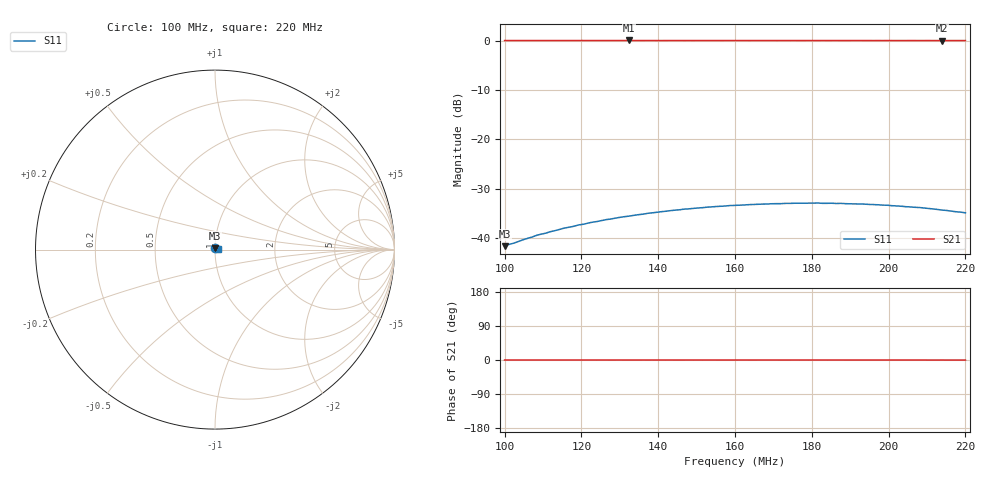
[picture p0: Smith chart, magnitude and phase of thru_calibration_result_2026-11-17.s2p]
# HZ S RI R 50
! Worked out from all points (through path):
!   101 points, 100 MHz to 220 MHz, reference 50 ohm
!   highest |S21| = 0.02 dB at 132.4 MHz (marker M1); lowest = 0.0 dB at 214 MHz (marker M2)
!   lowest |S11| = -41.6 dB at 100 MHz (marker M3), VSWR 1.02, Z = 49.8 + j0.798 ohm
!   |S11| at or under -10 dB: start of sweep to end of sweep
!   S12 and S22 are empty: the file has one direction only
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1e8  -0.00211 0.00801  1.001 -0.000308  0 0  0 0
1.012e8  -0.002 0.00841  1.001 -0.0002  0 0  0 0
1.024e8  -0.00192 0.00868  1.001 -0.000131  0 0  0 0
1.084e8  -0.00151 0.0106  1.001 -0.000212  0 0  0 0
1.156e8  -0.000523 0.0126  1.001 -0.000195  0 0  0 0
1.18e8  -0.000154 0.0132  1.001 -0.00042  0 0  0 0
1.192e8  7.14e-05 0.0136  1.001 -0.000183  0 0  0 0
1.204e8  0.000363 0.0138  1.001 -0.000542  0 0  0 0
1.264e8  0.00166 0.0153  1.001 -0.0004  0 0  0 0
1.324e8  0.00317 0.0164  1.002 -0.00111  0 0  0 0
1.408e8  0.00561 0.0176  0.9995 -0.000417  0 0  0 0
1.468e8  0.00748 0.0182  1 -0.0006  0 0  0 0
1.528e8  0.0094 0.0183  1.001 -0.000427  0 0  0 0
1.6e8  0.0117 0.018  1.001 -0.000759  0 0  0 0
1.696e8  0.0145 0.0169  1.001 -0.000156  0 0  0 0
1.804e8  0.0172 0.0147  0.9999 -0.000315  0 0  0 0
1.876e8  0.0185 0.0128  1 -9.76e-05  0 0  0 0
1.936e8  0.0192 0.011  1 -0.00103  0 0  0 0
2.008e8  0.0195 0.00862  0.9998 -0.00103  0 0  0 0
2.08e8  0.0194 0.00633  0.9991 -0.00194  0 0  0 0
2.14e8  0.0187 0.00425  0.999 -0.00167  0 0  0 0
2.2e8  0.0179 0.00237  0.9996 -0.00254  0 0  0 0
